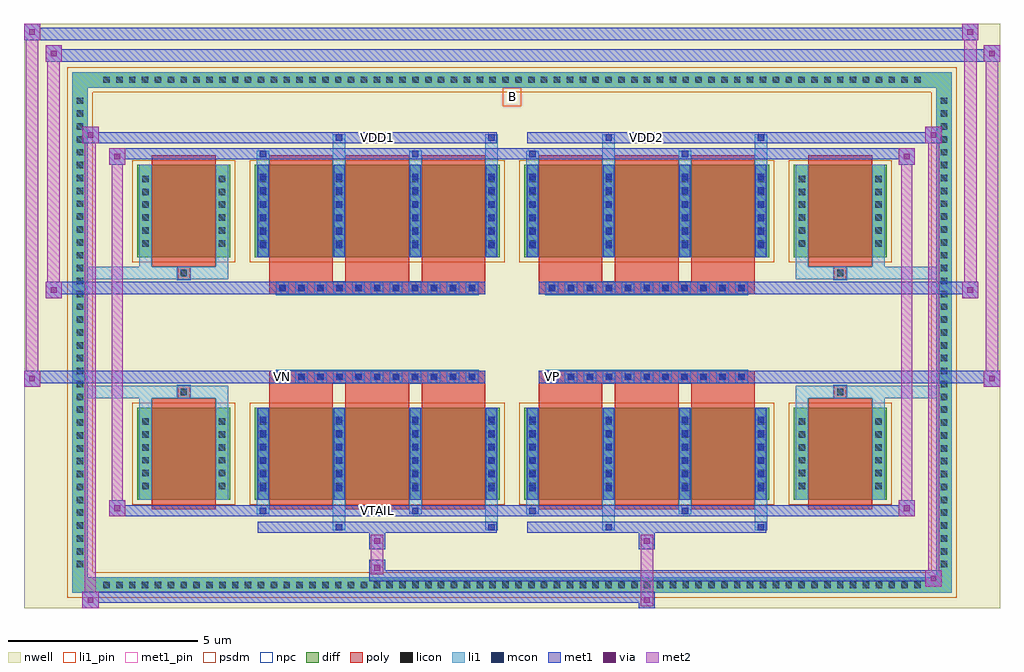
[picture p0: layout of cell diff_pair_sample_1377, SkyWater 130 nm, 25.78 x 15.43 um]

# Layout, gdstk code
import gdstk
lib = gdstk.Library(unit=1e-6, precision=5e-09)
def R(c, l, rs):  # rectangles x0, y0, x1, y1
    for r in rs: c.add(gdstk.rectangle(r[:2], r[2:], *l))
def A(c, l, x, y, w, h, nx, ny, dx, dy):  # array of equal rectangles
    R(c, l, [(x+i*dx, y+j*dy, x+i*dx+w, y+j*dy+h) for i in range(nx) for j in range(ny)])
def P(c, l, *ps):  # polygons
    for p in ps: c.add(gdstk.Polygon(p, *l))
nwell = (64, 20)
diff = (65, 20)
poly = (66, 20)
licon = (66, 44)
li1_pin = (67, 16)
li1 = (67, 20)
mcon = (67, 44)
met1_pin = (68, 16)
met1 = (68, 20)
via = (68, 44)
met2 = (69, 20)
psdm = (94, 20)
npc = (95, 20)

diff_pair_sample_1377 = lib.new_cell('diff_pair_sample_1377')
R(diff_pair_sample_1377, nwell, [(-12.89,-7.28,12.89,8.15), (-10.21,-5.47,-0.01,-0.805), (0.01,-5.47,10.21,-0.805), (-10.21,0.805,-0.01,5.47), (0.01,0.805,10.21,5.47)])
A(diff_pair_sample_1377, diff, -10.915, -6.88, 0.41, 0.41, 64, 2, 0.34, 13.35)
A(diff_pair_sample_1377, diff, -11.62, -6.325, 0.41, 0.41, 1, 37, 0, 0.34)
A(diff_pair_sample_1377, diff, 11.21, -6.325, 0.41, 0.41, 1, 37, 0, 0.34)
R(diff_pair_sample_1377, diff, [(-10.915,-6.88,10.915,-6.47), (-11.62,-6.325,-11.21,6.325), (11.21,-6.325,11.62,6.325), (-9.9,-4.425,-7.44,-1.985), (-6.8,-4.425,-0.32,-1.985), (0.32,-4.425,6.8,-1.985), (7.44,-4.425,9.9,-1.985), (-9.9,1.985,-7.44,4.425), (-6.8,1.985,-0.32,4.425), (0.32,1.985,6.8,4.425), (7.44,1.985,9.9,4.425), (-10.915,6.47,10.915,6.88)])
P(diff_pair_sample_1377, diff, [(11.62,6.88),(-11.62,6.88),(-11.62,-6.47),(-11.21,-6.47),(-11.21,6.47),(11.21,6.47),(11.21,-6.47),(-11.21,-6.47),(-11.62,-6.47),(-11.62,-6.88),(11.62,-6.88)])
A(diff_pair_sample_1377, poly, -6.41, -4.675, 1.68, 2.94, 3, 2, 2.01, 6.41)
A(diff_pair_sample_1377, poly, 0.71, -4.675, 1.68, 2.94, 3, 2, 2.01, 6.41)
A(diff_pair_sample_1377, poly, -6.41, -1.735, 1.68, 0.4, 3, 2, 2.01, 3.07)
A(diff_pair_sample_1377, poly, 0.71, -1.735, 1.68, 0.4, 3, 2, 2.01, 3.07)
A(diff_pair_sample_1377, poly, -6.225, -1.335, 0.33, 0.33, 11, 2, 0.5, 2.34)
A(diff_pair_sample_1377, poly, 0.895, -1.335, 0.33, 0.33, 11, 2, 0.5, 2.34)
R(diff_pair_sample_1377, poly, [(-9.51,-4.675,-7.83,-1.735), (7.83,-4.675,9.51,-1.735), (-8.835,-1.735,-8.505,-1.405), (-8.835,-1.735,-8.505,-1.405), (8.505,-1.735,8.835,-1.405), (8.505,-1.735,8.835,-1.405), (-6.41,-1.335,-0.71,-1.005), (0.71,-1.335,6.41,-1.005), (-6.41,1.005,-0.71,1.335), (0.71,1.005,6.41,1.335), (-8.835,1.405,-8.505,1.735), (-8.835,1.405,-8.505,1.735), (8.505,1.405,8.835,1.735), (8.505,1.405,8.835,1.735), (-9.51,1.735,-7.83,4.675), (7.83,1.735,9.51,4.675)])
A(diff_pair_sample_1377, licon, -10.795, -6.76, 0.17, 0.17, 64, 2, 0.34, 13.35)
A(diff_pair_sample_1377, licon, -11.5, -6.205, 0.17, 0.17, 1, 37, 0, 0.34)
A(diff_pair_sample_1377, licon, 11.33, -6.205, 0.17, 0.17, 1, 37, 0, 0.34)
A(diff_pair_sample_1377, licon, -9.76, -4.14, 0.17, 0.17, 1, 6, 0, 0.34)
A(diff_pair_sample_1377, licon, -7.75, -4.14, 0.17, 0.17, 1, 6, 0, 0.34)
A(diff_pair_sample_1377, licon, -6.66, -4.14, 0.17, 0.17, 4, 6, 2.01, 0.34)
A(diff_pair_sample_1377, licon, 0.46, -4.14, 0.17, 0.17, 4, 6, 2.01, 0.34)
A(diff_pair_sample_1377, licon, 7.58, -4.14, 0.17, 0.17, 1, 6, 0, 0.34)
A(diff_pair_sample_1377, licon, 9.59, -4.14, 0.17, 0.17, 1, 6, 0, 0.34)
A(diff_pair_sample_1377, licon, -6.145, -1.255, 0.17, 0.17, 11, 2, 0.5, 2.34)
A(diff_pair_sample_1377, licon, 0.975, -1.255, 0.17, 0.17, 11, 2, 0.5, 2.34)
A(diff_pair_sample_1377, licon, -9.76, 2.27, 0.17, 0.17, 1, 6, 0, 0.34)
A(diff_pair_sample_1377, licon, -7.75, 2.27, 0.17, 0.17, 1, 6, 0, 0.34)
A(diff_pair_sample_1377, licon, -6.66, 2.27, 0.17, 0.17, 4, 6, 2.01, 0.34)
A(diff_pair_sample_1377, licon, 0.46, 2.27, 0.17, 0.17, 4, 6, 2.01, 0.34)
A(diff_pair_sample_1377, licon, 7.58, 2.27, 0.17, 0.17, 1, 6, 0, 0.34)
A(diff_pair_sample_1377, licon, 9.59, 2.27, 0.17, 0.17, 1, 6, 0, 0.34)
R(diff_pair_sample_1377, licon, [(-8.755,-1.655,-8.585,-1.485), (8.585,-1.655,8.755,-1.485), (-8.755,1.485,-8.585,1.655), (8.585,1.485,8.755,1.655)])
R(diff_pair_sample_1377, li1_pin, [(-0.25,5.97,0.25,6.47)])
A(diff_pair_sample_1377, li1, -10.875, -6.84, 0.33, 0.33, 64, 2, 0.34, 13.35)
A(diff_pair_sample_1377, li1, -11.58, -6.285, 0.33, 0.33, 1, 37, 0, 0.34)
A(diff_pair_sample_1377, li1, 11.25, -6.285, 0.33, 0.33, 1, 37, 0, 0.34)
A(diff_pair_sample_1377, li1, -6.74, -4.425, 0.33, 2.44, 4, 2, 2.01, 6.41)
A(diff_pair_sample_1377, li1, 0.38, -4.425, 0.33, 2.44, 4, 2, 2.01, 6.41)
A(diff_pair_sample_1377, li1, -9.84, -4.22, 0.33, 0.33, 1, 6, 0, 0.34)
A(diff_pair_sample_1377, li1, -7.83, -4.22, 0.33, 0.33, 1, 6, 0, 0.34)
A(diff_pair_sample_1377, li1, -6.74, -4.22, 0.33, 0.33, 4, 6, 2.01, 0.34)
A(diff_pair_sample_1377, li1, 0.38, -4.22, 0.33, 0.33, 4, 6, 2.01, 0.34)
A(diff_pair_sample_1377, li1, 7.5, -4.22, 0.33, 0.33, 1, 6, 0, 0.34)
A(diff_pair_sample_1377, li1, 9.51, -4.22, 0.33, 0.33, 1, 6, 0, 0.34)
A(diff_pair_sample_1377, li1, -6.66, -4.19, 0.17, 0.17, 4, 6, 2.01, 0.36)
A(diff_pair_sample_1377, li1, -6.66, -4.19, 0.17, 1.97, 4, 2, 2.01, 6.41)
A(diff_pair_sample_1377, li1, 0.46, -4.19, 0.17, 0.17, 4, 6, 2.01, 0.36)
A(diff_pair_sample_1377, li1, 0.46, -4.19, 0.17, 1.97, 4, 2, 2.01, 6.41)
A(diff_pair_sample_1377, li1, -6.225, -1.335, 0.33, 0.33, 11, 2, 0.5, 2.34)
A(diff_pair_sample_1377, li1, 0.895, -1.335, 0.33, 0.33, 11, 2, 0.5, 2.34)
A(diff_pair_sample_1377, li1, -9.84, 2.19, 0.33, 0.33, 1, 6, 0, 0.34)
A(diff_pair_sample_1377, li1, -7.83, 2.19, 0.33, 0.33, 1, 6, 0, 0.34)
A(diff_pair_sample_1377, li1, -6.74, 2.19, 0.33, 0.33, 4, 6, 2.01, 0.34)
A(diff_pair_sample_1377, li1, 0.38, 2.19, 0.33, 0.33, 4, 6, 2.01, 0.34)
A(diff_pair_sample_1377, li1, 7.5, 2.19, 0.33, 0.33, 1, 6, 0, 0.34)
A(diff_pair_sample_1377, li1, 9.51, 2.19, 0.33, 0.33, 1, 6, 0, 0.34)
A(diff_pair_sample_1377, li1, -6.66, 2.22, 0.17, 0.17, 4, 6, 2.01, 0.36)
A(diff_pair_sample_1377, li1, 0.46, 2.22, 0.17, 0.17, 4, 6, 2.01, 0.36)
R(diff_pair_sample_1377, li1, [(-11.62,-6.88,-11.21,-6.47), (-11.62,-6.88,-11.21,-6.47), (-11.21,-6.88,11.21,-6.47), (11.21,-6.88,11.62,-6.47), (11.21,-6.88,11.62,-6.47), (-11.62,-6.47,-11.21,6.47), (11.21,-6.47,11.62,6.47), (-4.73,-5.23,-4.4,-4.425), (-4.65,-5.23,-4.48,-5.06), (-0.71,-5.23,-0.38,-4.425), (-0.63,-5.23,-0.46,-5.06), (2.39,-5.23,2.72,-4.425), (2.47,-5.23,2.64,-5.06), (6.41,-5.23,6.74,-4.425), (6.49,-5.23,6.66,-5.06), (-6.74,-4.8,-6.41,-4.425), (-6.66,-4.8,-6.49,-4.63), (-2.72,-4.8,-2.39,-4.425), (-2.64,-4.8,-2.47,-4.63), (0.38,-4.8,0.71,-4.425), (0.46,-4.8,0.63,-4.63), (4.4,-4.8,4.73,-4.425), (4.48,-4.8,4.65,-4.63), (-9.84,-4.425,-9.51,-1.985), (-7.83,-4.425,-7.5,-1.985), (7.5,-4.425,7.83,-1.985), (9.51,-4.425,9.84,-1.985), (-9.84,-1.985,-9.51,-1.405), (-7.83,-1.985,-7.5,-1.405), (7.5,-1.985,7.83,-1.405), (9.51,-1.985,9.84,-1.405), (-11.62,-1.735,-8.835,-1.405), (-9.84,-1.735,-8.835,-1.405), (-8.835,-1.735,-8.505,-1.405), (-8.505,-1.735,-7.5,-1.405), (7.5,-1.735,8.505,-1.405), (8.505,-1.735,8.835,-1.405), (8.505,-1.735,11.62,-1.405), (8.835,-1.735,9.84,-1.405), (-11.62,1.405,-8.835,1.735), (-9.84,1.405,-8.835,1.735), (-9.84,1.405,-9.51,1.985), (-8.835,1.405,-8.505,1.735), (-8.505,1.405,-7.5,1.735), (-7.83,1.405,-7.5,1.985), (7.5,1.405,8.505,1.735), (7.5,1.405,7.83,1.985), (8.505,1.405,8.835,1.735), (8.505,1.405,11.62,1.735), (8.835,1.405,9.84,1.735), (9.51,1.405,9.84,1.985), (-9.84,1.985,-9.51,4.425), (-7.83,1.985,-7.5,4.425), (7.5,1.985,7.83,4.425), (9.51,1.985,9.84,4.425), (-6.74,4.425,-6.41,4.8), (-4.73,4.425,-4.4,5.23), (-2.72,4.425,-2.39,4.8), (-0.71,4.425,-0.38,5.23), (0.38,4.425,0.71,4.8), (2.39,4.425,2.72,5.23), (4.4,4.425,4.73,4.8), (6.41,4.425,6.74,5.23), (-6.66,4.63,-6.49,4.8), (-2.64,4.63,-2.47,4.8), (0.46,4.63,0.63,4.8), (4.48,4.63,4.65,4.8), (-4.65,5.06,-4.48,5.23), (-0.63,5.06,-0.46,5.23), (2.47,5.06,2.64,5.23), (6.49,5.06,6.66,5.23), (-11.62,6.47,-11.21,6.88), (-11.62,6.47,-11.21,6.88), (-11.21,6.47,11.21,6.88), (11.21,6.47,11.62,6.88), (11.21,6.47,11.62,6.88)])
A(diff_pair_sample_1377, mcon, -6.66, -4.19, 0.17, 0.17, 4, 6, 2.01, 0.36)
A(diff_pair_sample_1377, mcon, 0.46, -4.19, 0.17, 0.17, 4, 6, 2.01, 0.36)
A(diff_pair_sample_1377, mcon, -6.145, -1.255, 0.17, 0.17, 11, 2, 0.5, 2.34)
A(diff_pair_sample_1377, mcon, 0.975, -1.255, 0.17, 0.17, 11, 2, 0.5, 2.34)
A(diff_pair_sample_1377, mcon, -6.66, 2.22, 0.17, 0.17, 4, 6, 2.01, 0.36)
A(diff_pair_sample_1377, mcon, 0.46, 2.22, 0.17, 0.17, 4, 6, 2.01, 0.36)
R(diff_pair_sample_1377, mcon, [(-4.65,-5.23,-4.48,-5.06), (-0.63,-5.23,-0.46,-5.06), (2.47,-5.23,2.64,-5.06), (6.49,-5.23,6.66,-5.06), (-6.66,-4.8,-6.49,-4.63), (-2.64,-4.8,-2.47,-4.63), (0.46,-4.8,0.63,-4.63), (4.48,-4.8,4.65,-4.63), (-6.66,4.63,-6.49,4.8), (-2.64,4.63,-2.47,4.8), (0.46,4.63,0.63,4.8), (4.48,4.63,4.65,4.8), (-4.65,5.06,-4.48,5.23), (-0.63,5.06,-0.46,5.23), (2.47,5.06,2.64,5.23), (6.49,5.06,6.66,5.23)])
R(diff_pair_sample_1377, met1_pin, [(-3.695,-4.84,-3.425,-4.57), (-6.195,-1.295,-5.925,-1.025), (0.925,-1.295,1.195,-1.025), (-3.695,5.02,-3.425,5.29), (3.425,5.02,3.695,5.29)])
A(diff_pair_sample_1377, met1, -6.72, -4.425, 0.29, 2.44, 4, 2, 2.01, 6.41)
A(diff_pair_sample_1377, met1, 0.4, -4.425, 0.29, 2.44, 4, 2, 2.01, 6.41)
A(diff_pair_sample_1377, met1, -6.72, -4.25, 0.29, 0.29, 4, 6, 2.01, 0.36)
A(diff_pair_sample_1377, met1, 0.4, -4.25, 0.29, 0.29, 4, 6, 2.01, 0.36)
A(diff_pair_sample_1377, met1, -6.205, -1.315, 0.29, 0.29, 11, 2, 0.5, 2.34)
A(diff_pair_sample_1377, met1, 0.915, -1.315, 0.29, 0.29, 11, 2, 0.5, 2.34)
A(diff_pair_sample_1377, met1, -6.72, 2.16, 0.29, 0.29, 4, 6, 2.01, 0.36)
A(diff_pair_sample_1377, met1, 0.4, 2.16, 0.29, 0.29, 4, 6, 2.01, 0.36)
R(diff_pair_sample_1377, met1, [(-11.35,-7.28,-10.92,-6.85), (3.345,-7.28,3.775,-6.85), (-11.35,-7.14,3.775,-6.85), (10.92,-6.71,11.35,-6.28), (-3.775,-6.57,11.35,-6.28), (-3.775,-6.43,-3.345,-6), (-3.775,-5.72,-3.345,-5.29), (3.345,-5.72,3.775,-5.29), (-6.72,-5.29,-0.4,-5), (-4.71,-5.29,-4.42,-5), (-0.69,-5.29,-0.4,-5), (0.4,-5.29,6.72,-5), (2.41,-5.29,2.7,-5), (6.43,-5.29,6.72,-5), (-10.64,-4.86,-10.21,-4.43), (-10.64,-4.86,-6.72,-4.57), (-6.72,-4.86,-6.43,-4.57), (-6.72,-4.86,-0.4,-4.57), (-2.7,-4.86,-2.41,-4.57), (-0.4,-4.86,0.4,-4.57), (0.4,-4.86,0.69,-4.57), (0.4,-4.86,6.72,-4.57), (4.42,-4.86,4.71,-4.57), (6.72,-4.86,10.64,-4.57), (10.21,-4.86,10.64,-4.43), (-12.89,-1.435,-12.46,-1.005), (12.46,-1.435,12.89,-1.005), (-12.89,-1.335,-0.71,-1.005), (-6.41,-1.335,-0.71,-1.005), (0.71,-1.335,6.41,-1.005), (0.71,-1.335,12.89,-1.005), (-12.32,0.905,-11.89,1.335), (11.89,0.905,12.32,1.335), (-12.32,1.005,-6.41,1.335), (-6.41,1.005,-0.71,1.335), (0.71,1.005,6.41,1.335), (6.41,1.005,12.32,1.335), (-10.64,4.43,-10.21,4.86), (10.21,4.43,10.64,4.86), (-10.64,4.57,-6.72,4.86), (-6.72,4.57,-6.43,4.86), (-6.72,4.57,-0.4,4.86), (-2.7,4.57,-2.41,4.86), (-0.4,4.57,0.4,4.86), (0.4,4.57,0.69,4.86), (0.4,4.57,6.72,4.86), (4.42,4.57,4.71,4.86), (6.72,4.57,10.64,4.86), (-11.35,5,-10.92,5.43), (-11.35,5,-6.72,5.29), (-6.72,5,-0.4,5.29), (-4.71,5,-4.42,5.29), (-0.69,5,-0.4,5.29), (0.4,5,6.72,5.29), (2.41,5,2.7,5.29), (6.43,5,6.72,5.29), (6.72,5,11.35,5.29), (10.92,5,11.35,5.43), (-12.32,7.15,-11.89,7.58), (-12.32,7.15,-10.21,7.48), (-10.21,7.15,10.21,7.48), (10.21,7.15,12.89,7.48), (12.46,7.15,12.89,7.58), (-12.89,7.72,-12.46,8.15), (-12.89,7.72,-10.21,8.05), (-10.21,7.72,10.21,8.05), (10.21,7.72,12.32,8.05), (11.89,7.72,12.32,8.15)])
R(diff_pair_sample_1377, via, [(-11.21,-7.14,-11.06,-6.99), (3.485,-7.14,3.635,-6.99), (11.06,-6.57,11.21,-6.42), (-3.635,-6.29,-3.485,-6.14), (-3.635,-5.58,-3.485,-5.43), (3.485,-5.58,3.635,-5.43), (-10.5,-4.72,-10.35,-4.57), (10.35,-4.72,10.5,-4.57), (-12.75,-1.295,-12.6,-1.145), (12.6,-1.295,12.75,-1.145), (-12.18,1.045,-12.03,1.195), (12.03,1.045,12.18,1.195), (-10.5,4.57,-10.35,4.72), (10.35,4.57,10.5,4.72), (-11.21,5.14,-11.06,5.29), (11.06,5.14,11.21,5.29), (-12.18,7.29,-12.03,7.44), (12.6,7.29,12.75,7.44), (-12.75,7.86,-12.6,8.01), (12.03,7.86,12.18,8.01)])
R(diff_pair_sample_1377, met2, [(-11.35,-7.28,-10.92,-6.85), (-11.28,-7.28,-10.99,5.43), (-10.99,-7.28,-10.92,-6.85), (-11.3,-7.23,-10.97,-6.9), (3.395,-7.23,3.725,-6.9), (3.395,-6.9,3.725,-5.67), (10.92,-6.71,11.35,-6.28), (10.99,-6.71,11.28,5.43), (11.28,-6.71,11.35,-6.28), (10.97,-6.66,11.3,-6.33), (-3.725,-6.38,-3.395,-6.05), (-3.725,-6.05,-3.395,-5.67), (-3.725,-5.67,-3.395,-5.34), (3.395,-5.67,3.725,-5.34), (-10.64,-4.86,-10.21,-4.43), (-10.57,-4.86,-10.28,4.86), (-10.28,-4.86,-10.21,-4.43), (10.21,-4.86,10.64,-4.43), (10.28,-4.86,10.57,4.86), (10.57,-4.86,10.64,-4.43), (-10.59,-4.81,-10.26,-4.48), (10.26,-4.81,10.59,-4.48), (-12.89,-1.435,-12.46,-1.005), (-12.84,-1.435,-12.51,8.15), (-12.51,-1.435,-12.46,-1.005), (12.46,-1.435,12.89,-1.005), (12.51,-1.435,12.84,7.58), (12.84,-1.435,12.89,-1.005), (-12.84,-1.385,-12.51,-1.055), (12.51,-1.385,12.84,-1.055), (-12.32,0.905,-11.89,1.335), (-12.27,0.905,-11.94,7.58), (-11.94,0.905,-11.89,1.335), (11.89,0.905,12.32,1.335), (11.94,0.905,12.27,8.15), (12.27,0.905,12.32,1.335), (-12.27,0.955,-11.94,1.285), (11.94,0.955,12.27,1.285), (-10.64,4.43,-10.21,4.86), (-10.28,4.43,-10.21,4.86), (10.21,4.43,10.64,4.86), (10.57,4.43,10.64,4.86), (-10.59,4.48,-10.26,4.81), (10.26,4.48,10.59,4.81), (-11.35,5,-10.92,5.43), (-10.99,5,-10.92,5.43), (10.92,5,11.35,5.43), (11.28,5,11.35,5.43), (-11.3,5.05,-10.97,5.38), (10.97,5.05,11.3,5.38), (-12.32,7.15,-11.89,7.58), (-11.94,7.15,-11.89,7.58), (12.46,7.15,12.89,7.58), (12.84,7.15,12.89,7.58), (-12.27,7.2,-11.94,7.53), (12.51,7.2,12.84,7.53), (-12.89,7.72,-12.46,8.15), (-12.51,7.72,-12.46,8.15), (11.89,7.72,12.32,8.15), (12.27,7.72,12.32,8.15), (-12.84,7.77,-12.51,8.1), (11.94,7.77,12.27,8.1)])
R(diff_pair_sample_1377, psdm, [(-10.03,-4.555,-7.31,-1.855), (-6.93,-4.555,-0.19,-1.855), (0.19,-4.555,6.93,-1.855), (7.31,-4.555,10.03,-1.855), (-10.03,1.855,-7.31,4.555), (-6.93,1.855,-0.19,4.555), (0.19,1.855,6.93,4.555), (7.31,1.855,10.03,4.555)])
P(diff_pair_sample_1377, psdm, [(11.75,7.01),(-11.75,7.01),(-11.75,-6.34),(-11.08,-6.34),(-11.08,6.34),(11.08,6.34),(11.08,-6.34),(-11.08,-6.34),(-11.75,-6.34),(-11.75,-7.01),(11.75,-7.01)])
A(diff_pair_sample_1377, npc, -6.245, -1.355, 0.37, 0.37, 11, 2, 0.5, 2.34)
A(diff_pair_sample_1377, npc, 0.875, -1.355, 0.37, 0.37, 11, 2, 0.5, 2.34)
R(diff_pair_sample_1377, npc, [(-8.855,-1.755,-8.485,-1.385), (8.485,-1.755,8.855,-1.385), (-6.245,-1.355,-5.375,-0.985), (-6.245,-1.355,-5.375,-0.985), (-5.745,-1.355,-4.875,-0.985), (-5.745,-1.355,-4.875,-0.985), (-5.245,-1.355,-4.375,-0.985), (-5.245,-1.355,-4.375,-0.985), (-4.745,-1.355,-3.875,-0.985), (-4.745,-1.355,-3.875,-0.985), (-4.245,-1.355,-3.375,-0.985), (-4.245,-1.355,-3.375,-0.985), (-3.745,-1.355,-2.875,-0.985), (-3.745,-1.355,-2.875,-0.985), (-3.245,-1.355,-2.375,-0.985), (-3.245,-1.355,-2.375,-0.985), (-2.745,-1.355,-1.875,-0.985), (-2.745,-1.355,-1.875,-0.985), (-2.245,-1.355,-1.375,-0.985), (-2.245,-1.355,-1.375,-0.985), (-1.745,-1.355,-0.875,-0.985), (-1.745,-1.355,-0.875,-0.985), (0.875,-1.355,1.745,-0.985), (0.875,-1.355,1.745,-0.985), (1.375,-1.355,2.245,-0.985), (1.375,-1.355,2.245,-0.985), (1.875,-1.355,2.745,-0.985), (1.875,-1.355,2.745,-0.985), (2.375,-1.355,3.245,-0.985), (2.375,-1.355,3.245,-0.985), (2.875,-1.355,3.745,-0.985), (2.875,-1.355,3.745,-0.985), (3.375,-1.355,4.245,-0.985), (3.375,-1.355,4.245,-0.985), (3.875,-1.355,4.745,-0.985), (3.875,-1.355,4.745,-0.985), (4.375,-1.355,5.245,-0.985), (4.375,-1.355,5.245,-0.985), (4.875,-1.355,5.745,-0.985), (4.875,-1.355,5.745,-0.985), (5.375,-1.355,6.245,-0.985), (5.375,-1.355,6.245,-0.985), (-6.245,0.985,-5.375,1.355), (-6.245,0.985,-5.375,1.355), (-5.745,0.985,-4.875,1.355), (-5.745,0.985,-4.875,1.355), (-5.245,0.985,-4.375,1.355), (-5.245,0.985,-4.375,1.355), (-4.745,0.985,-3.875,1.355), (-4.745,0.985,-3.875,1.355), (-4.245,0.985,-3.375,1.355), (-4.245,0.985,-3.375,1.355), (-3.745,0.985,-2.875,1.355), (-3.745,0.985,-2.875,1.355), (-3.245,0.985,-2.375,1.355), (-3.245,0.985,-2.375,1.355), (-2.745,0.985,-1.875,1.355), (-2.745,0.985,-1.875,1.355), (-2.245,0.985,-1.375,1.355), (-2.245,0.985,-1.375,1.355), (-1.745,0.985,-0.875,1.355), (-1.745,0.985,-0.875,1.355), (0.875,0.985,1.745,1.355), (0.875,0.985,1.745,1.355), (1.375,0.985,2.245,1.355), (1.375,0.985,2.245,1.355), (1.875,0.985,2.745,1.355), (1.875,0.985,2.745,1.355), (2.375,0.985,3.245,1.355), (2.375,0.985,3.245,1.355), (2.875,0.985,3.745,1.355), (2.875,0.985,3.745,1.355), (3.375,0.985,4.245,1.355), (3.375,0.985,4.245,1.355), (3.875,0.985,4.745,1.355), (3.875,0.985,4.745,1.355), (4.375,0.985,5.245,1.355), (4.375,0.985,5.245,1.355), (4.875,0.985,5.745,1.355), (4.875,0.985,5.745,1.355), (5.375,0.985,6.245,1.355), (5.375,0.985,6.245,1.355), (-8.855,1.385,-8.485,1.755), (8.485,1.385,8.855,1.755)])
diff_pair_sample_1377.add(gdstk.Label('VTAIL', (-3.56,-4.705), layer=68, texttype=5))
diff_pair_sample_1377.add(gdstk.Label('VN', (-6.06,-1.16), layer=68, texttype=5))
diff_pair_sample_1377.add(gdstk.Label('VP', (1.06,-1.16), layer=68, texttype=5))
diff_pair_sample_1377.add(gdstk.Label('B', (0,6.22), layer=67, texttype=5))
diff_pair_sample_1377.add(gdstk.Label('VDD2', (3.56,5.155), layer=68, texttype=5))
diff_pair_sample_1377.add(gdstk.Label('VDD1', (-3.56,5.155), layer=68, texttype=5))

lib.write_gds('diff_pair_sample_1377.gds')
